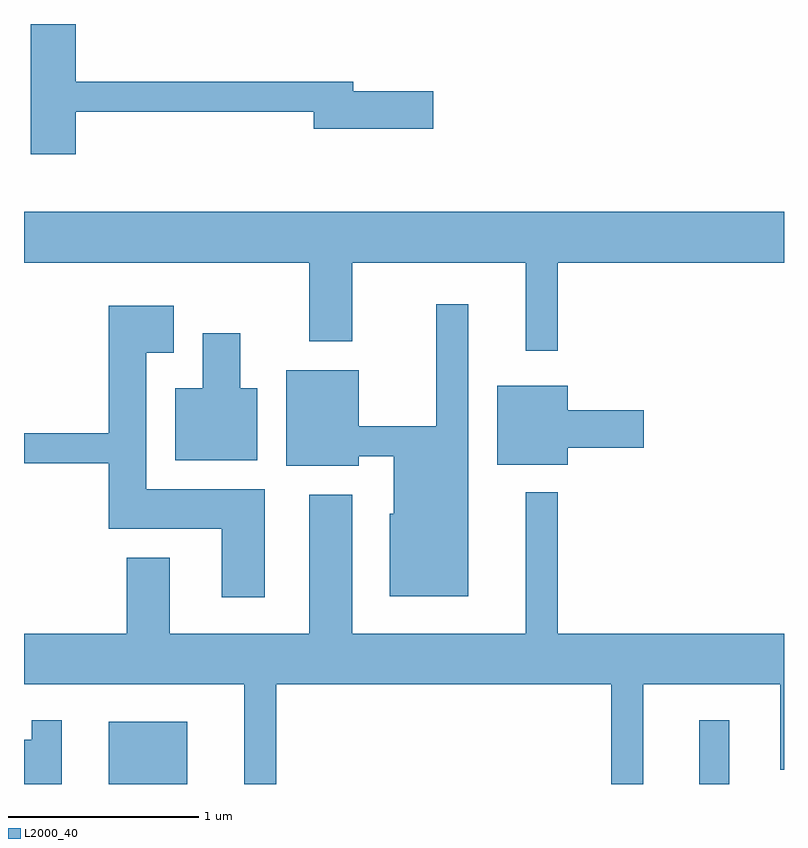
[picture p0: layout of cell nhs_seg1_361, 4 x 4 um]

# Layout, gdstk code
import gdstk
lib = gdstk.Library(unit=1e-6, precision=1e-09)
def R(c, l, rs):  # rectangles x0, y0, x1, y1
    for r in rs: c.add(gdstk.rectangle(r[:2], r[2:], *l))
def P(c, l, *ps):  # polygons
    for p in ps: c.add(gdstk.Polygon(p, *l))
L2000_40 = (2000, 40)

nhs_seg1_361 = lib.new_cell('nhs_seg1_361')
R(nhs_seg1_361, L2000_40, [(196.056,905.712,196.469,906.039), (199.166,905.712,199.324,906.048)])
P(nhs_seg1_361, L2000_40, [(195.884,909.251),(197.136,909.251),(197.136,909.161),(197.764,909.161),(197.764,909.359),(197.344,909.359),(197.344,909.409),(195.884,909.409),(195.884,909.712),(195.646,909.712),(195.646,909.026),(195.884,909.026)],
  [(198.419,908.456),(199.611,908.456),(199.611,908.724),(195.611,908.724),(195.611,908.456),(197.111,908.456),(197.111,908.041),(197.339,908.041),(197.339,908.456),(198.251,908.456),(198.251,907.993),(198.419,907.993)],
  [(197.949,908.238),(197.781,908.238),(197.781,907.594),(197.374,907.594),(197.374,907.889),(196.991,907.889),(196.991,907.386),(197.374,907.386),(197.374,907.436),(197.556,907.436),(197.556,907.134),(197.536,907.134),(197.536,906.701),(197.949,906.701)],
  [(196.879,907.264),(196.254,907.264),(196.254,907.981),(196.399,907.981),(196.399,908.229),(196.056,908.229),(196.056,907.559),(195.611,907.559),(195.611,907.401),(196.056,907.401),(196.056,907.056),(196.651,907.056),(196.651,906.696),(196.879,906.696)],
  [(196.839,907.794),(196.749,907.794),(196.749,908.084),(196.551,908.084),(196.551,907.794),(196.406,907.794),(196.406,907.416),(196.839,907.416)],
  [(198.474,907.481),(198.874,907.481),(198.874,907.679),(198.474,907.679),(198.474,907.809),(198.101,907.809),(198.101,907.391),(198.474,907.391)],
  [(196.939,906.236),(198.701,906.236),(198.701,905.712),(198.869,905.712),(198.869,906.236),(199.591,906.236),(199.591,905.786),(199.611,905.786),(199.611,906.504),(198.419,906.504),(198.419,907.248),(198.251,907.248),(198.251,906.504),(197.339,906.504),(197.339,907.234),(197.111,907.234),(197.111,906.504),(196.379,906.504),(196.379,906.904),(196.151,906.904),(196.151,906.504),(195.611,906.504),(195.611,906.236),(196.771,906.236),(196.771,905.712),(196.939,905.712)],
  [(195.809,906.048),(195.651,906.048),(195.651,905.944),(195.611,905.944),(195.611,905.712),(195.809,905.712)])

lib.write_gds('nhs_seg1_361.gds')
